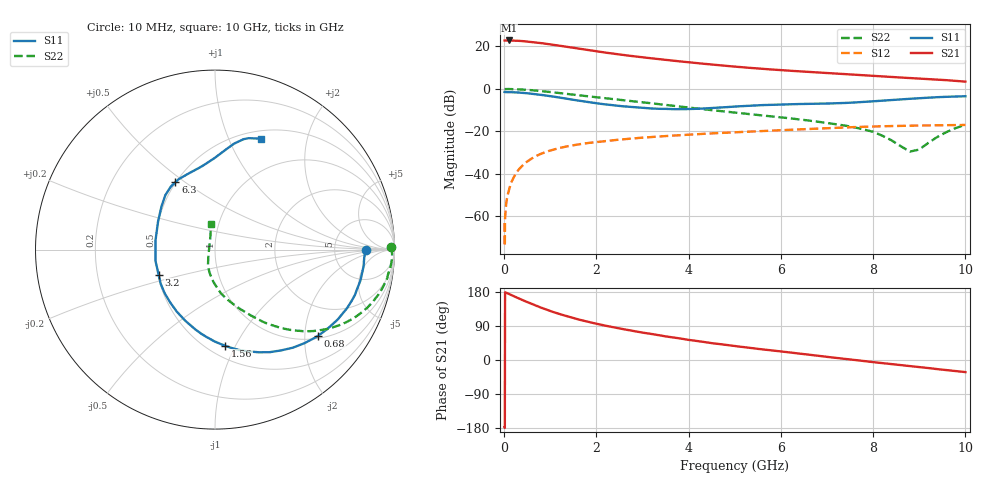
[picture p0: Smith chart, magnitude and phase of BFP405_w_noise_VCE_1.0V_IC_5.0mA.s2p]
! Infineon Technologies  Discrete & RF Semiconductors
! BFP405
! VCE =  1.0 V,  IC =  5.0 mA
! Common Emitter S-Parameters:  Jan 2016
# GHz  S  MA  R  50
!  f  S11  S21  S12  S22
! GHz  MAG  ANG  MAG  ANG  MAG  ANG  MAG  ANG
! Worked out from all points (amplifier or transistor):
!   233 points, 10 MHz to 10 GHz, reference 50 ohm
!   highest |S21| = 22.7 dB at 100 MHz (marker M1)
!   |S21| within 3 dB of that: start of sweep to 1.357 GHz
!   unconditionally stable (mu >= 1): 11.23 MHz to 16.46 MHz; 3.252 GHz to end of sweep
!   at 200 MHz: K = 0.09, MSG = 32.3 dB, |S12| = -41.9 dB
!   at 1.74 GHz: K = 0.58, MSG = 22.1 dB, |S12| = -25.7 dB
!   at 10 GHz: K = 1.48, MAG = 6.1 dB, |S12| = -17.0 dB
!   lowest NFmin = 1.22 dB at 900 MHz
!   S11 on the Smith chart (normalised r, x): 10 MHz: 12, -0; 680 MHz: 1.07, -2.34; 1.56 GHz: 0.60, -0.91; 3.2 GHz: 0.50, -0.16; 6.3 GHz: 0.50, +0.46; 10 GHz: 0.59, +1.32
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0.01  0.841 -0.3  13.63 -177.3  0.0007 -65.4  0.9833 0.9
0.015  0.8389 -0.8  13.63 -179.4  0.0002 51.5  0.9838 0.3
0.02  0.8369 -1.3  13.64 178.6  0.0009 95.4  0.9845 -0.3
0.1  0.8335 -6.0  13.68 174.2  0.004 85.2  0.9871 -3.1
0.26  0.8214 -15.7  13.54 165.6  0.0104 82.5  0.9736 -8.3
0.4  0.8044 -24.0  13.22 158.0  0.0158 77.9  0.9591 -12.5
0.68  0.7486 -39.8  12.29 143.9  0.0258 70.3  0.91 -20.6
0.9  0.6971 -51.7  11.48 133.6  0.0327 64.9  0.8627 -26.2
1.1  0.6474 -62.0  10.69 125.2  0.0381 60.7  0.8175 -30.7
1.56  0.5385 -84.0  8.961 108.6  0.0483 52.7  0.7162 -39.2
1.68  0.5149 -89.4  8.559 104.8  0.0506 51.0  0.6918 -41.1
2  0.4577 -103.9  7.595 95.7  0.0562 47.0  0.632 -45.5
2.4  0.4058 -121.7  6.616 85.6  0.0624 42.9  0.5668 -50.2
3.2  0.3438 -156.0  5.195 68.6  0.0736 36.1  0.4553 -58.3
3.4  0.3376 -164.7  4.916 64.5  0.0762 34.5  0.4297 -60.4
4  0.3355 170.8  4.199 53.1  0.0837 30.0  0.3617 -66.8
5.1  0.3879 139.3  3.251 35.4  0.0961 22.3  0.2691 -78.6
6.3  0.4355 120.4  2.613 18.4  0.1099 14.7  0.1963 -89.7
6.8  0.4453 111.8  2.413 11.3  0.1161 11.2  0.1684 -94.9
8.4  0.5457 85.6  1.895 -10.9  0.1331 -2.2  0.0614 -127.9
8.8  0.5827 81.4  1.789 -16.0  0.1357 -5.4  0.0334 -176.0
10  0.6687 67.6  1.473 -31.9  0.1414 -13.9  0.1433 99.2
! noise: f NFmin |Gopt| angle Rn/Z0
0.9  1.22  0.36  11  0.33
1.8  1.49  0.28  18  0.31
2.4  1.64  0.24  26  0.31
3  1.66  0.21  44  0.29
4  1.83  0.1  66  0.25
5  2.19  0.05  139  0.23
